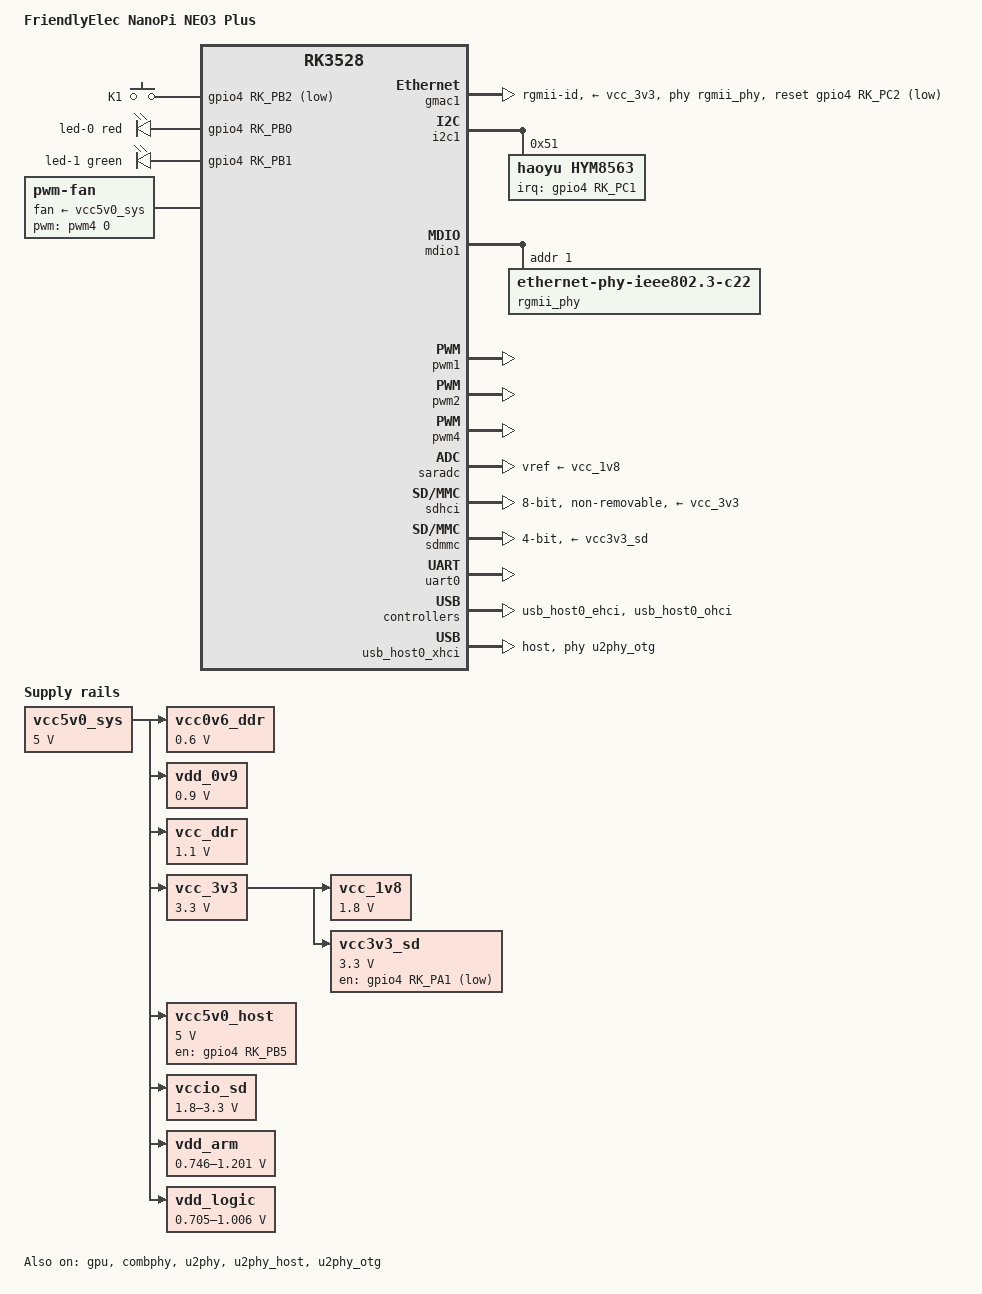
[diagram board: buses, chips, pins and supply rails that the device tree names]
// SPDX-License-Identifier: (GPL-2.0+ OR MIT)
/*
 * FriendlyElec NanoPi NEO3 Plus (Rockchip RK3528A)
 *
 * Derived from the mainline NanoPi Zero2 device tree: both boards share the
 * FriendlyElec RK3528 reference design (power tree, RTL8211F GbE PHY on
 * GMAC1, microSD + eMMC module, Hym8563 RTC on I2C1, sys/user LEDs on
 * GPIO4_B0/B1 and the 1500000n8 debug UART on UART0_M0).
 *
 * Board specifics taken from the vendor rk3528-nanopi-rev02.dts: the K1
 * user button (GPIO4_B2) and the PWM4-driven fan connector.
 *
 * NOTE: RK3528 USB support (USB2PHY/DWC3/EHCI/OHCI) is not yet upstream;
 * the Armbian rockchip64-6.18 rk3528 USB patches (based on Jonas Karlman's
 * mainlining work) are applied via ../patches/ so the USB-A 3.0 port and
 * the USB2 host pair work. The Type-C port is wired to the same USB2 PHY
 * OTG pair and is not independently usable in host mode.
 */

/dts-v1/;

#include <dt-bindings/input/input.h>
#include <dt-bindings/leds/common.h>
#include <dt-bindings/phy/phy.h>
#include <dt-bindings/pwm/pwm.h>
#include "rk3528.dtsi"

/ {
	model = "FriendlyElec NanoPi NEO3 Plus";
	compatible = "friendlyarm,nanopi-neo3-plus", "rockchip,rk3528";

	aliases {
		ethernet0 = &gmac1;
		mmc0 = &sdhci;
		mmc1 = &sdmmc;
		serial0 = &uart0;
	};

	chosen {
		stdout-path = "serial0:1500000n8";
	};

	gpio-keys {
		compatible = "gpio-keys";
		pinctrl-names = "default";
		pinctrl-0 = <&key1_pin>;

		button-k1 {
			debounce-interval = <50>;
			gpios = <&gpio4 RK_PB2 GPIO_ACTIVE_LOW>;
			label = "K1";
			linux,code = <BTN_1>;
			wakeup-source;
		};
	};

	leds {
		compatible = "gpio-leds";
		pinctrl-names = "default";
		pinctrl-0 = <&led1>, <&led_sys>;

		led-0 {
			color = <LED_COLOR_ID_RED>;
			default-state = "on";
			function = LED_FUNCTION_HEARTBEAT;
			gpios = <&gpio4 RK_PB0 GPIO_ACTIVE_HIGH>;
			linux,default-trigger = "heartbeat";
		};

		led-1 {
			color = <LED_COLOR_ID_GREEN>;
			default-state = "on";
			function = LED_FUNCTION_STATUS;
			gpios = <&gpio4 RK_PB1 GPIO_ACTIVE_HIGH>;
			linux,default-trigger = "default-on";
		};
	};

	pwm-fan {
		compatible = "pwm-fan";
		cooling-levels = <0 64 128 255>;
		fan-supply = <&vcc5v0_sys>;
		pwms = <&pwm4 0 50000 0>;
	};

	vcc0v6_ddr: regulator-0v6-vcc-ddr {
		compatible = "regulator-fixed";
		regulator-name = "vcc0v6_ddr";
		regulator-always-on;
		regulator-boot-on;
		regulator-min-microvolt = <600000>;
		regulator-max-microvolt = <600000>;
		vin-supply = <&vcc5v0_sys>;
	};

	vdd_0v9: regulator-0v9-vdd {
		compatible = "regulator-fixed";
		regulator-name = "vdd_0v9";
		regulator-always-on;
		regulator-boot-on;
		regulator-min-microvolt = <900000>;
		regulator-max-microvolt = <900000>;
		vin-supply = <&vcc5v0_sys>;
	};

	vcc_ddr: regulator-1v1-vcc-ddr {
		compatible = "regulator-fixed";
		regulator-name = "vcc_ddr";
		regulator-always-on;
		regulator-boot-on;
		regulator-min-microvolt = <1100000>;
		regulator-max-microvolt = <1100000>;
		vin-supply = <&vcc5v0_sys>;
	};

	vcc_1v8: regulator-1v8-vcc {
		compatible = "regulator-fixed";
		regulator-name = "vcc_1v8";
		regulator-always-on;
		regulator-boot-on;
		regulator-min-microvolt = <1800000>;
		regulator-max-microvolt = <1800000>;
		vin-supply = <&vcc_3v3>;
	};

	vcc_3v3: regulator-3v3-vcc {
		compatible = "regulator-fixed";
		regulator-name = "vcc_3v3";
		regulator-always-on;
		regulator-boot-on;
		regulator-min-microvolt = <3300000>;
		regulator-max-microvolt = <3300000>;
		vin-supply = <&vcc5v0_sys>;
	};

	vcc3v3_sd: regulator-3v3-vcc-sd {
		compatible = "regulator-fixed";
		gpios = <&gpio4 RK_PA1 GPIO_ACTIVE_LOW>;
		pinctrl-names = "default";
		pinctrl-0 = <&sdmmc_pwren_l>;
		regulator-name = "vcc3v3_sd";
		regulator-min-microvolt = <3300000>;
		regulator-max-microvolt = <3300000>;
		vin-supply = <&vcc_3v3>;
	};

	/* USB host VBUS (USB-A port, switched by USB_HOST_PWREN) */
	vcc5v0_host: regulator-5v0-vcc-host {
		compatible = "regulator-fixed";
		enable-active-high;
		gpio = <&gpio4 RK_PB5 GPIO_ACTIVE_HIGH>;
		pinctrl-names = "default";
		pinctrl-0 = <&usb20_host1_pwren>;
		regulator-name = "vcc5v0_host";
		regulator-min-microvolt = <5000000>;
		regulator-max-microvolt = <5000000>;
		vin-supply = <&vcc5v0_sys>;
	};

	vcc5v0_sys: regulator-5v0-vcc-sys {
		compatible = "regulator-fixed";
		regulator-name = "vcc5v0_sys";
		regulator-always-on;
		regulator-boot-on;
		regulator-min-microvolt = <5000000>;
		regulator-max-microvolt = <5000000>;
	};

	vccio_sd: regulator-vccio-sd {
		compatible = "regulator-gpio";
		gpios = <&gpio4 RK_PB6 GPIO_ACTIVE_HIGH>;
		pinctrl-names = "default";
		pinctrl-0 = <&sdmmc_vol_ctrl_h>;
		regulator-name = "vccio_sd";
		regulator-min-microvolt = <1800000>;
		regulator-max-microvolt = <3300000>;
		states = <1800000 0x0>, <3300000 0x1>;
		vin-supply = <&vcc5v0_sys>;
	};

	vdd_arm: regulator-vdd-arm {
		compatible = "pwm-regulator";
		pwms = <&pwm1 0 5000 PWM_POLARITY_INVERTED>;
		pwm-supply = <&vcc5v0_sys>;
		regulator-name = "vdd_arm";
		regulator-always-on;
		regulator-boot-on;
		regulator-min-microvolt = <746000>;
		regulator-max-microvolt = <1201000>;
		regulator-settling-time-up-us = <250>;
	};

	vdd_logic: regulator-vdd-logic {
		compatible = "pwm-regulator";
		pwms = <&pwm2 0 5000 PWM_POLARITY_INVERTED>;
		pwm-supply = <&vcc5v0_sys>;
		regulator-name = "vdd_logic";
		regulator-always-on;
		regulator-boot-on;
		regulator-min-microvolt = <705000>;
		regulator-max-microvolt = <1006000>;
		regulator-settling-time-up-us = <250>;
	};
};

&cpu0 {
	cpu-supply = <&vdd_arm>;
};

&cpu1 {
	cpu-supply = <&vdd_arm>;
};

&cpu2 {
	cpu-supply = <&vdd_arm>;
};

&cpu3 {
	cpu-supply = <&vdd_arm>;
};

&gmac1 {
	clock_in_out = "output";
	phy-handle = <&rgmii_phy>;
	phy-mode = "rgmii-id";
	phy-supply = <&vcc_3v3>;
	pinctrl-names = "default";
	pinctrl-0 = <&rgmii_miim>, <&rgmii_tx_bus2>, <&rgmii_rx_bus2>,
		    <&rgmii_rgmii_clk>, <&rgmii_rgmii_bus>;
	/* PHY reset via the GMAC driver: the generic PHY framework does not
	 * handle the per-PHY reset-gpios (same fix as Armbian rk3528-14) */
	snps,reset-gpio = <&gpio4 RK_PC2 GPIO_ACTIVE_LOW>;
	snps,reset-delays-us = <0 20000 100000>;
	status = "okay";
};

&gpu {
	mali-supply = <&vdd_logic>;
	status = "okay";
};

&i2c1 {
	pinctrl-names = "default";
	pinctrl-0 = <&i2c1m0_xfer>;
	status = "okay";

	hym8563: rtc@51 {
		compatible = "haoyu,hym8563";
		reg = <0x51>;
		#clock-cells = <0>;
		interrupt-parent = <&gpio4>;
		interrupts = <RK_PC1 IRQ_TYPE_LEVEL_LOW>;
		pinctrl-names = "default";
		pinctrl-0 = <&rtc_int_l>;
		wakeup-source;
	};
};

&mdio1 {
	rgmii_phy: ethernet-phy@1 {
		compatible = "ethernet-phy-ieee802.3-c22";
		reg = <0x1>;
	};
};

&pinctrl {
	gpio-keys {
		key1_pin: key1-pin {
			rockchip,pins = <4 RK_PB2 RK_FUNC_GPIO &pcfg_pull_up>;
		};
	};

	leds {
		led1: led1 {
			rockchip,pins = <4 RK_PB1 RK_FUNC_GPIO &pcfg_pull_none>;
		};

		led_sys: led-sys {
			rockchip,pins = <4 RK_PB0 RK_FUNC_GPIO &pcfg_pull_none>;
		};
	};

	rtc {
		rtc_int_l: rtc-int-l {
			rockchip,pins = <4 RK_PC1 RK_FUNC_GPIO &pcfg_pull_up>;
		};
	};

	sdmmc {
		sdmmc_vol_ctrl_h: sdmmc-vol-ctrl-h {
			rockchip,pins = <4 RK_PB6 RK_FUNC_GPIO &pcfg_pull_none>;
		};

		sdmmc_pwren_l: sdmmc-pwren-l {
			rockchip,pins = <4 RK_PA1 RK_FUNC_GPIO &pcfg_pull_none>;
		};
	};

	usb {
		usb20_host1_pwren: usb20-host1-pwren {
			rockchip,pins = <4 RK_PB5 RK_FUNC_GPIO &pcfg_pull_none>;
		};
	};
};

&pwm1 {
	pinctrl-names = "default";
	pinctrl-0 = <&pwm1m0_pins>;
	status = "okay";
};

&pwm2 {
	pinctrl-names = "default";
	pinctrl-0 = <&pwm2m0_pins>;
	status = "okay";
};

&pwm4 {
	status = "okay";
};

&saradc {
	vref-supply = <&vcc_1v8>;
	status = "okay";
};

&sdhci {
	bus-width = <8>;
	cap-mmc-highspeed;
	mmc-hs200-1_8v;
	no-sd;
	no-sdio;
	non-removable;
	vmmc-supply = <&vcc_3v3>;
	vqmmc-supply = <&vcc_1v8>;
	status = "okay";
};

&sdmmc {
	bus-width = <4>;
	cap-mmc-highspeed;
	cap-sd-highspeed;
	disable-wp;
	sd-uhs-sdr104;
	vmmc-supply = <&vcc3v3_sd>;
	vqmmc-supply = <&vccio_sd>;
	status = "okay";
};

&uart0 {
	pinctrl-names = "default";
	pinctrl-0 = <&uart0m0_xfer>;
	status = "okay";
};

/*
 * USB: USB-A port on the DWC3 (USB3 SS via the naneng combo PHY, HS via
 * the USB2PHY otg port — same wiring as the Radxa ROCK 2A) and VBUS
 * switched by vcc5v0_host. The USB2 host pair (EHCI/OHCI) is enabled as
 * a fallback for USB2 enumeration. The Type-C port shares the USB2 PHY
 * OTG pair and is not independently usable with dr_mode = "host".
 */

&combphy {
	status = "okay";
};

&u2phy {
	status = "okay";
};

&u2phy_host {
	phy-supply = <&vcc5v0_host>;
	status = "okay";
};

&u2phy_otg {
	phy-supply = <&vcc5v0_host>;
	status = "okay";
};

&usb_host0_ehci {
	status = "okay";
};

&usb_host0_ohci {
	status = "okay";
};

&usb_host0_xhci {
	dr_mode = "host";
	extcon = <&u2phy>;
	phys = <&u2phy_otg>, <&combphy PHY_TYPE_USB3>;
	phy-names = "usb2-phy", "usb3-phy";
	snps,dis_u2_susphy_quirk;
	status = "okay";
};
